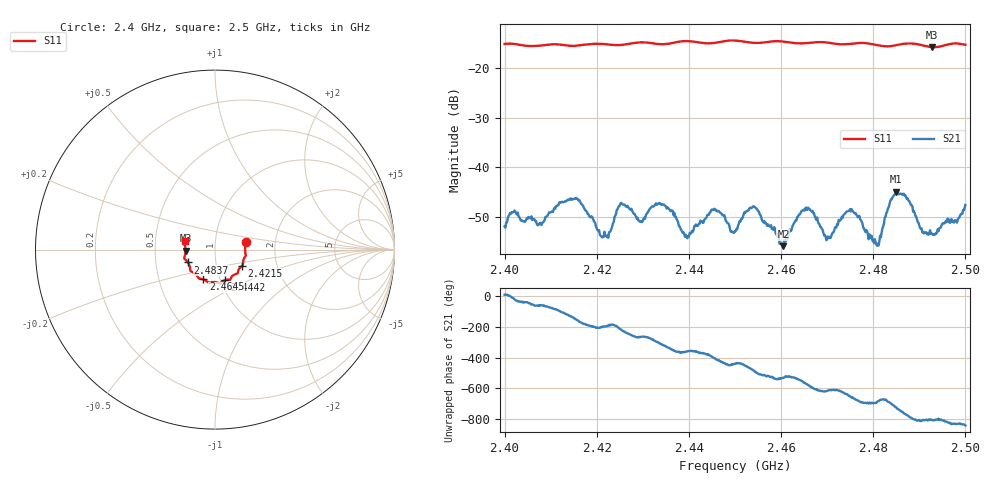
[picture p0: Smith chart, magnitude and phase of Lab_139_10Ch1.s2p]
# Hz S RI R 50
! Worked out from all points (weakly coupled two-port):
!   601 points, 2.4 GHz to 2.5 GHz, reference 50 ohm
!   highest |S21| = -44.93 dB at 2.485 GHz (marker M1); lowest = -55.9 dB at 2.4605 GHz (marker M2)
!   lowest |S11| = -15.7 dB at 2.4928 GHz (marker M3), VSWR 1.39, Z = 36 - j0.39 ohm
!   |S11| at or under -10 dB: start of sweep to end of sweep
!   S12 and S22 are empty: the file has one direction only
!   S11 on the Smith chart (normalised r, x): 2.4 GHz: 1.41, +0.12; 2.4215 GHz: 1.33, -0.25; 2.4442 GHz: 1.05, -0.37; 2.4645 GHz: 0.83, -0.29; 2.4837 GHz: 0.73, -0.11; 2.5 GHz: 0.71, +0.07
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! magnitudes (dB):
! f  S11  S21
! 2.4 GHz  -15.1  -51.9
! 2.4017 GHz  -15.0  -49.1
! 2.4167 GHz  -15.3  -47.4
! 2.4215 GHz  -15.1  -54.1
! 2.4252 GHz  -15.3  -47.2
! 2.4295 GHz  -14.8  -51.0
! 2.4333 GHz  -15.1  -47.3
! 2.4395 GHz  -14.5  -54.2
! 2.4442 GHz  -15.0  -49.5
! 2.45 GHz  -14.4  -52.8
! 2.4542 GHz  -14.9  -47.9
! 2.4605 GHz  -14.6  -55.9
! 2.4645 GHz  -15.0  -48.7
! 2.4667 GHz  -14.8  -48.9
! 2.4703 GHz  -14.8  -54.1
! 2.4753 GHz  -15.0  -48.5
! 2.4807 GHz  -15.3  -55.6
! 2.4833 GHz  -15.6  -48.1
! 2.4837 GHz  -15.5  -46.9
! 2.485 GHz  -15.3  -44.9
! 2.4928 GHz  -15.7  -53.5
! 2.5 GHz  -15.2  -47.6
